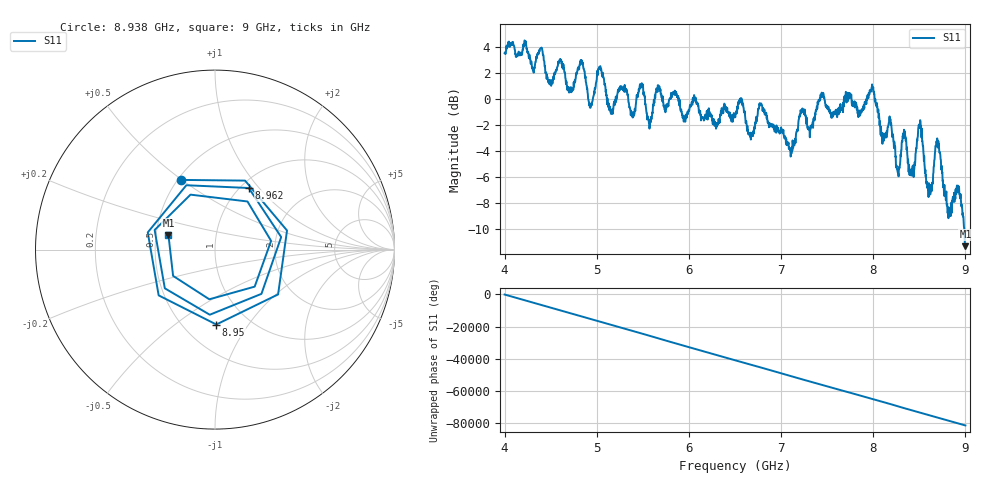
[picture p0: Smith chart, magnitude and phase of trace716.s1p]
! Created with skrf 1.8.0 (http://scikit-rf.org).
# Hz S RI R 50.0
!freq ReS11 ImS11
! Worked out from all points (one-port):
!   1601 points, 4 GHz to 9 GHz, reference 50 ohm
!   lowest |S11| = -11.3 dB at 9 GHz (marker M1), VSWR 1.75, Z = 29.1 + j5.09 ohm
!   |S11| at or under -10 dB: 8.988032 GHz to end of sweep
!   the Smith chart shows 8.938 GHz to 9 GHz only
!   S11 on the Smith chart (normalised r, x): 8.938 GHz: 0.52, +0.50; 8.95 GHz: 0.71, -0.72; 8.962 GHz: 1.09, +0.88; 9 GHz: 0.58, +0.10
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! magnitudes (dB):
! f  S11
! 4 GHz  3.5
! 4.625 GHz  2.4
! 4.722 GHz  0.5
! 4.841 GHz  2.9
! 4.931 GHz  -0.7
! 5.028 GHz  2.5
! 5.15 GHz  -1.0
! 5.25 GHz  0.7
! 5.394 GHz  -1.2
! 5.488 GHz  1.2
! 5.572 GHz  -2.3
! 5.662 GHz  1.1
! 5.875 GHz  0.2
! 6.5 GHz  -1.3
! 7.125 GHz  -3.2
! 7.222 GHz  -1.0
! 7.75 GHz  0.2
! 7.988 GHz  1.1
! 8.266 GHz  -5.6
! 8.375 GHz  -4.9
! 8.506 GHz  -2.2
! 8.6 GHz  -7.5
! 8.697 GHz  -3.2
! 8.822 GHz  -8.5
! 8.938 GHz  -7.3
! 8.95 GHz  -7.6
! 8.962 GHz  -8.1
! 9 GHz  -11.3
